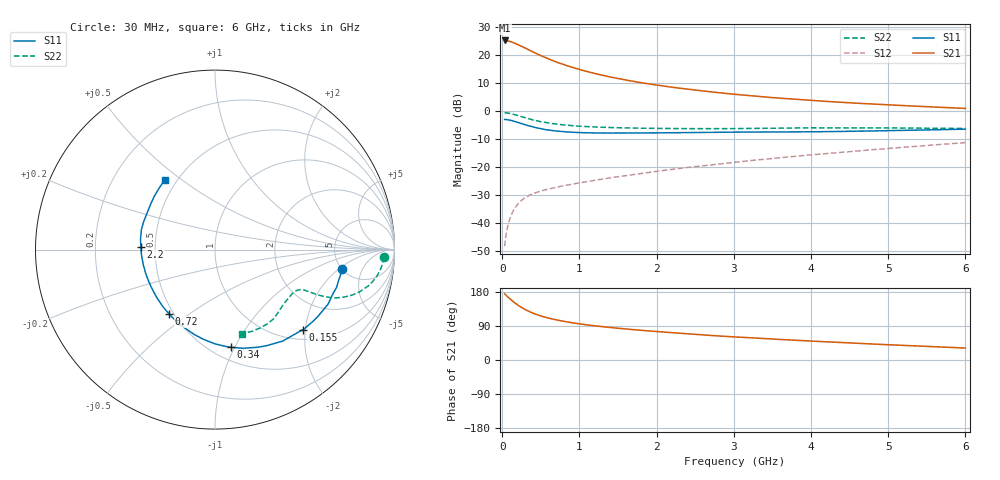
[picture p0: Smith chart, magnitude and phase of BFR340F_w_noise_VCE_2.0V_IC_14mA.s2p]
! Infineon Technologies  Discrete & RF Semiconductors
! BFR340F
! VCE =  2.0 V,  IC =  14 mA
! Common Emitter S-Parameters:  Nov 2015
# GHz  S  MA  R  50
!  f  S11  S21  S12  S22
! GHz  MAG  ANG  MAG  ANG  MAG  ANG  MAG  ANG
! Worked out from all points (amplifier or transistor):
!   206 points, 30 MHz to 6 GHz, reference 50 ohm
!   highest |S21| = 25.3 dB at 30 MHz (marker M1)
!   |S21| within 3 dB of that: start of sweep to 316.9 MHz
!   unconditionally stable (mu >= 1): 1.082 GHz to 5.177 GHz
!   at 200 MHz: K = 0.32, MSG = 28.5 dB, |S12| = -33.2 dB
!   at 1.56 GHz: K = 1.14, MAG = 15.0 dB, |S12| = -23.1 dB
!   at 6 GHz: K = 0.94, MSG = 6.1 dB, |S12| = -11.2 dB
!   lowest NFmin = 1.79 dB at 450 MHz
!   S11 on the Smith chart (normalised r, x): 30 MHz: 5.00, -2.17; 155 MHz: 1.22, -1.93; 340 MHz: 0.62, -0.97; 720 MHz: 0.47, -0.42; 2.2 GHz: 0.42, +0.01; 6 GHz: 0.43, +0.44
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0.03  0.7131 -8.6  18.36 174.6  0.0039 82.8  0.9405 -2.5
0.05  0.7091 -14.4  18.14 170.1  0.0064 81.0  0.9363 -4.7
0.07  0.7019 -20.2  18.05 166.4  0.0088 80.1  0.9298 -6.6
0.12  0.6824 -33.6  17.26 157.7  0.0145 74.6  0.9011 -10.9
0.155  0.6613 -42.5  16.53 151.9  0.018 70.9  0.8748 -13.5
0.2  0.6345 -53.4  15.59 145.1  0.022 67.2  0.8392 -16.3
0.24  0.6072 -61.9  14.67 139.8  0.025 64.2  0.8072 -18.2
0.3  0.5728 -73.7  13.35 132.6  0.0289 61.1  0.7616 -20.4
0.34  0.5516 -80.6  12.53 128.7  0.031 59.4  0.7346 -21.4
0.4  0.5246 -90.2  11.39 123.3  0.0338 57.7  0.6984 -22.5
0.5  0.487 -103.7  9.816 116.1  0.0377 56.0  0.6505 -23.4
0.6  0.4623 -114.8  8.563 110.3  0.0409 55.6  0.6152 -23.9
0.72  0.4406 -125.4  7.402 105.0  0.0446 56.0  0.5849 -24.0
0.9  0.4228 -138.6  6.107 98.3  0.0497 57.5  0.5537 -24.3
1.04  0.4143 -146.4  5.377 94.3  0.0538 59.0  0.5375 -24.7
1.5  0.4071 -164.8  3.834 83.8  0.0679 63.7  0.5071 -26.9
2.02  0.4113 -177.9  2.906 74.7  0.0853 67.7  0.4937 -30.9
2.2  0.413 178.2  2.68 71.9  0.0917 68.9  0.4915 -32.5
3.1  0.4248 163.8  1.96 60.0  0.1266 72.5  0.4911 -41.4
4.1  0.4309 150.3  1.529 49.0  0.1711 73.9  0.5055 -50.6
5.1  0.4523 137.3  1.28 39.4  0.2221 73.2  0.5024 -61.4
6  0.4794 125.5  1.124 31.6  0.2757 71.2  0.4925 -72.2
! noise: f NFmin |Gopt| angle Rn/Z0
0.45  1.79  0.09  -8  0.25
0.9  2.09  0.07  -2  0.32
1.9  3.08  0.16  -130  0.4
2.4  3.64  0.25  -138  0.37
